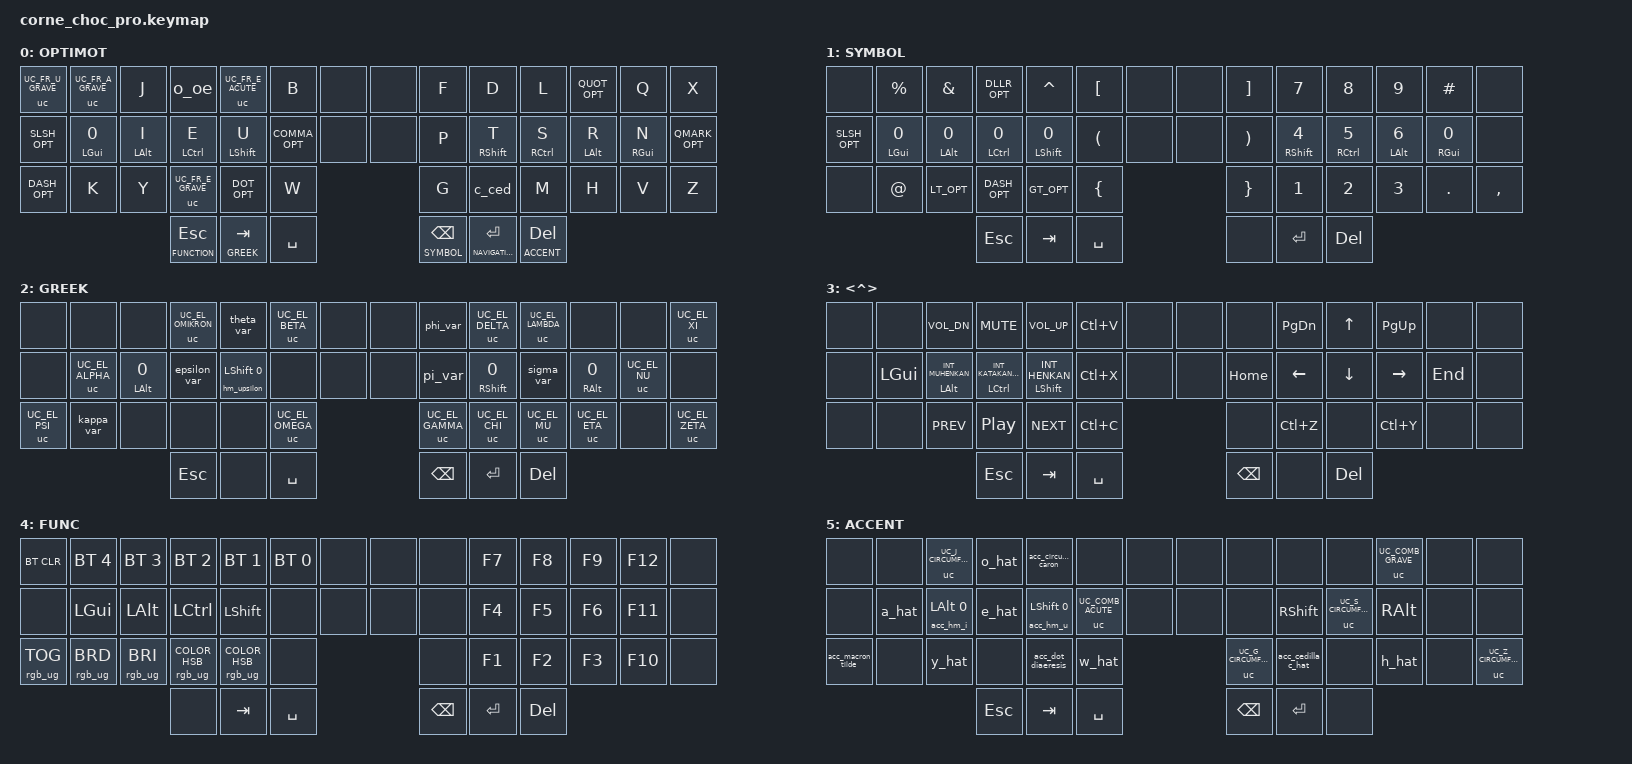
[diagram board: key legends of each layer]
/*
 * Copyright (c) 2020 The ZMK Contributors
 *
 * SPDX-License-Identifier: MIT
 */



#include <behaviors.dtsi>
#include <dt-bindings/zmk/keys.h>
#include <dt-bindings/zmk/bt.h>
#include <dt-bindings/zmk/rgb.h>
#include <behaviors/unicode.dtsi>
#include <zmk-unicode/keys-extra.h>  // All glyphs except CJK
#include <zmk-helpers/helper.h>

// Layer indices, referenced by name from &lt/&mo/&to bindings below instead of
// as raw numbers, so inserting/reordering a layer doesn't silently renumber
// every reference to the layers that follow it.
#define DEFAULT    0
#define SYMBOL     1
#define GREEK      2
#define NAVIGATION 3
#define FUNCTION   4
#define ACCENT     5

/ {
    chosen { zmk,physical-layout = &default_layout; };
};

&uc {
  default-mode = <UC_MODE_LINUX>;  // Default to Linux input system
};

// &uc for use inside mod-morphs. A mod-morph clears ZMK's modifier mask when it is
// released, and &uc starts its input sequence (with all mods masked) immediately on
// press. When the mod-morph is tapped through a home-row-mod hold-tap, its release
// comes right after the press, unmasking held mods (e.g. Shift) in the middle of the
// sequence, so uppercase output hangs. Starting the sequence 1 ms later, after that
// release, avoids it. Use &uc_mm instead of &uc in every mod-morph binding.
ZMK_BEHAVIOR(uc_mm, macro_two_param,
    wait-ms = <0>;
    tap-ms = <1>;
    bindings = <&macro_tap &none>, <&macro_param_1to1>, <&macro_param_2to2>,
               <&macro_tap &uc MACRO_PLACEHOLDER MACRO_PLACEHOLDER>;
)

// "Masked" modifier for the Gui/Alt home-row mods: holds the mod, then taps an
// otherwise idle key (MASK_KEY) just before releasing it, so the OS never sees the mod
// pressed and released alone, which on its own opens the launcher/overview
// (Super) or the menu bar (Alt). They then only ever act in combination with
// another key; a bare Alt/Super comes from the both-Alts/both-Guis combos below
// (or the function/navigation layers).
// The tap is on release, not press, on purpose: queued behaviors are stamped
// with the current time, and hold-taps treat any non-modifier key press newer
// than their own press as "pressed after a recent tap" (require-prior-idle-ms
// defaults to -1), so a mask tap on press turned hold-taps pressed before the
// mod's hold was decided (Enter's navigation layer, T/S/R/N) into instant taps.
// wait-ms/tap-ms = 0 keeps the whole macro synchronous, so the mod is down before
// the key that triggered the hold is replayed.
// The mask is a modifier (Right Ctrl, as QMK's mod neutralizer) rather than a
// spare F-key: F13-F24 have no keysym (or a live one, like F23/F13) in the
// default XKB layout, and apps dropping a keysym-less key never see it, so
// Firefox still opened its menu bar on an Alt+F24 release. Every app sees Ctrl,
// and a Ctrl tap under Alt/Gui does nothing.
#define MASK_KEY RCTRL

// Home-row mods pressed less than this many ms after another key resolve as a tap
// straight away, with no hold decision: no accidental mods while typing fast. A
// shortcut started mid-word needs a short pause first.
// Not the Shift ones (hmls/hmrs, hm_star, hm_upsilon/hm_tau, acc_hm_u): a capital is
// typed mid-flow, right after Space or Backspace (a layer-tap, whose tap is only sent
// on release, so even later), and the pause turned Shift+letter into "u" + letter.
// Balanced flavor + opposite-hand hold-trigger-key-positions guard them instead.
#define HRM_PRIOR_IDLE 150
ZMK_BEHAVIOR(mmod, macro_one_param,
    wait-ms = <0>;
    tap-ms = <0>;
    bindings = <&macro_param_1to1>, <&macro_press &kp MACRO_PLACEHOLDER>,
               <&macro_pause_for_release>,
               <&macro_tap &kp MASK_KEY>,
               <&macro_param_1to1>, <&macro_release &kp MACRO_PLACEHOLDER>;
)


// tap: comma | shift + tap: semicolon 
ZMK_BEHAVIOR(COMMA_OPT, mod_morph,
    bindings = <&kp COMMA>, <&kp SEMICOLON>;
    mods = <(MOD_LSFT|MOD_RSFT)>;
)

// tap: dot | shift + tap: colon 
ZMK_BEHAVIOR(DOT_OPT, mod_morph,
    bindings = <&kp DOT>, <&kp COLON>;
    mods = <(MOD_LSFT|MOD_RSFT)>;
)

// ?!
// tap: question mark | shift + tap exclamation mark
ZMK_BEHAVIOR(QMARK_OPT, mod_morph,
    bindings = <&kp QMARK>, <&kp EXCL>;
    mods = <(MOD_LSFT|MOD_RSFT)>;
)


// '`"
// tap: ' alt + tap: " (base for nesting)
ZMK_BEHAVIOR(SINGLEDOUBLE, mod_morph,
    bindings = <&kp SQT>, <&kp DQT>;
    mods = <(MOD_LALT|MOD_RALT)>;
)
// tap: ' (or " on alt) | shift + tap: `
ZMK_BEHAVIOR(QUOT_OPT, mod_morph,
    bindings = <&SINGLEDOUBLE>, <&kp GRAVE>;
    mods = <(MOD_LSFT|MOD_RSFT)>;
)


// /\|
// tap: slash alt + tap: pipe (base for nesting)
ZMK_BEHAVIOR(SLASHPIPE, mod_morph,
    bindings = <&kp SLASH>, <&kp PIPE>;
    mods = <(MOD_LALT|MOD_RALT)>;
)
// tap: slash (or pipe on alt) | shift + tap: backslash
ZMK_BEHAVIOR(SLSH_OPT, mod_morph,
    bindings = <&SLASHPIPE>, <&kp BACKSLASH>;
    mods = <(MOD_LSFT|MOD_RSFT)>;
)


// -_~
// tap: - alt + tap: ~ (base for nesting)
ZMK_BEHAVIOR(DASHTILDE, mod_morph,
    bindings = <&kp MINUS>, <&kp TILDE>;
    mods = <(MOD_LALT|MOD_RALT)>;
)
// tap: - (or ~ on alt) | shift + tap: _
ZMK_BEHAVIOR(DASH_OPT, mod_morph,
    bindings = <&DASHTILDE>, <&kp UNDERSCORE>;
    mods = <(MOD_LSFT|MOD_RSFT)>;
)


// <⟨«
// tap: < alt + tap: ⟨ (base for nesting)
ZMK_BEHAVIOR(LTANGLE, mod_morph,
    bindings = <&kp LT>, <&uc_mm UC_MATHEMATICAL_LEFT_ANGLE_BRACKET>;
    mods = <(MOD_LALT|MOD_RALT)>;
)
// tap: < (or ⟨ on alt) | shift + tap: «
ZMK_BEHAVIOR(LT_OPT, mod_morph,
    bindings = <&LTANGLE>, <&uc_mm UC_LEFT_POINTING_DOUBLE_ANGLE_QUOTATION_MARK>;
    mods = <(MOD_LSFT|MOD_RSFT)>;
)

// >⟩»
// tap: > alt + tap: ⟩ (base for nesting)
ZMK_BEHAVIOR(GTANGLE, mod_morph,
    bindings = <&kp GT>, <&uc_mm UC_MATHEMATICAL_RIGHT_ANGLE_BRACKET>;
    mods = <(MOD_LALT|MOD_RALT)>;
)
// tap: > (or ⟩ on alt) | shift + tap: »
ZMK_BEHAVIOR(GT_OPT, mod_morph,
    bindings = <&GTANGLE>, <&uc_mm UC_RIGHT_POINTING_DOUBLE_ANGLE_QUOTATION_MARK>;
    mods = <(MOD_LSFT|MOD_RSFT)>;
)

// *×†
// tap: * alt + tap: × (base for nesting)
ZMK_BEHAVIOR(STARTIMES, mod_morph,
    bindings = <&kp STAR>, <&uc_mm UC_MULTIPLICATION_SIGN>;
    mods = <(MOD_LALT|MOD_RALT)>;
)
// tap: * (or × on alt) | shift + tap: † (dagger)
ZMK_BEHAVIOR(STAR_OPT, mod_morph,
    bindings = <&STARTIMES>, <&uc_mm UC_DAGGER>;
    mods = <(MOD_LSFT|MOD_RSFT)>;
)

// $€
// tap: $ | alt + tap: €
ZMK_BEHAVIOR(DLLR_OPT, mod_morph,
    bindings = <&kp DLLR>, <&uc_mm UC_EURO_SIGN>;
    mods = <(MOD_LALT|MOD_RALT)>;
)

// 0°
// tap: 0 | alt + tap: ° (tapped through the hm_zero home-row mod)
ZMK_BEHAVIOR(zero_deg, mod_morph,
    bindings = <&kp N0>, <&uc_mm UC_DEGREE_SIGN>;
    mods = <(MOD_LALT|MOD_RALT)>;
)

// +±
// tap: + | shift + tap: ±
ZMK_BEHAVIOR(PLUS_OPT, mod_morph,
    bindings = <&kp PLUS>, <&uc_mm UC_PLUS_MINUS_SIGN>;
    mods = <(MOD_LSFT|MOD_RSFT)>;
)

// =≠≈
// tap: = alt + tap: ≈ (base for nesting)
ZMK_BEHAVIOR(EQUALAPPROX, mod_morph,
    bindings = <&kp EQUAL>, <&uc_mm UC_ALMOST_EQUAL_TO>;
    mods = <(MOD_LALT|MOD_RALT)>;
)
// tap: = (or ≈ on alt) | shift + tap: ≠
ZMK_BEHAVIOR(EQUAL_OPT, mod_morph,
    bindings = <&EQUALAPPROX>, <&uc_mm UC_NOT_EQUAL_TO>;
    mods = <(MOD_LSFT|MOD_RSFT)>;
)

// Combining diacritical marks (U+0300 block) for the ACCENT layer. Not in
// zmk-unicode's generated headers (it only ships precomposed characters), so
// defined here directly the same way the Greek macros are: raw codepoints,
// same value in both slots since these have no separate shifted form. Typed
// *after* a base letter, they compose visually onto whatever precedes them,
// so they work on any letter instead of only the ones with a precomposed
// Unicode codepoint.
#define UC_COMB_CIRCUMFLEX 0x0302 0x0302 // ◌̂
#define UC_COMB_DIAERESIS  0x0308 0x0308 // ◌̈
#define UC_COMB_GRAVE      0x0300 0x0300 // ◌̀
#define UC_COMB_ACUTE      0x0301 0x0301 // ◌́
#define UC_COMB_TILDE      0x0303 0x0303 // ◌̃
#define UC_COMB_MACRON     0x0304 0x0304 // ◌̄
#define UC_COMB_CEDILLA    0x0327 0x0327 // ◌̧
#define UC_COMB_CARON      0x030C 0x030C // ◌̌
#define UC_COMB_DOT_ABOVE  0x0307 0x0307 // ◌̇

// Precomposed circumflex letters beyond the French vowels (already covered by
// zmk-unicode's UC_FR_{A,E,I,O,U}_CIRCUMFLEX): Esperanto's circumflexed
// consonants (ĉ ĝ ĥ ĵ ŝ) plus Welsh/transliteration ones (ŵ ŷ ẑ). Verified
// against Python's unicodedata — of the 26 Latin letters, only these 8 plus
// AEIOU (13 total) have a precomposed circumflex codepoint at all; the other
// 13 have none, which is the whole reason the ACCENT layer's combining-mark
// keys exist.
#define UC_C_CIRCUMFLEX 0x0109 0x0108 // ĉ/Ĉ
#define UC_G_CIRCUMFLEX 0x011D 0x011C // ĝ/Ĝ
#define UC_H_CIRCUMFLEX 0x0125 0x0124 // ĥ/Ĥ
#define UC_J_CIRCUMFLEX 0x0135 0x0134 // ĵ/Ĵ
#define UC_S_CIRCUMFLEX 0x015D 0x015C // ŝ/Ŝ
#define UC_W_CIRCUMFLEX 0x0175 0x0174 // ŵ/Ŵ
#define UC_Y_CIRCUMFLEX 0x0177 0x0176 // ŷ/Ŷ
#define UC_Z_CIRCUMFLEX 0x1E91 0x1E90 // ẑ/Ẑ

// Precomposed diaeresis letters not covered by zmk-unicode's french.h (which
// only defines the ones French actually uses: E/I/U/Y). A and O have no
// French use either but do have Unicode codepoints (ä, ö); H and W are
// transliteration letters. Of the 12 ACCENT-layer circumflex letters, only
// these 4 plus E/I/U/Y (already in french.h) have a diaeresis counterpart --
// G/J/S/Z don't have one in Unicode at all, same story as the circumflex
// gaps above.
#define UC_A_DIAERESIS 0x00E4 0x00C4 // ä/Ä
#define UC_H_DIAERESIS 0x1E27 0x1E26 // ḧ/Ḧ
#define UC_O_DIAERESIS 0x00F6 0x00D6 // ö/Ö
#define UC_W_DIAERESIS 0x1E85 0x1E84 // ẅ/Ẅ

/ {
    behaviors {
        hml: home_row_mod_left {
            compatible = "zmk,behavior-hold-tap";
            #binding-cells = <2>;
            flavor = "balanced";
            tapping-term-ms = <140>;
            quick-tap-ms = <100>;
            bindings = <&kp>, <&kp>;
            hold-trigger-key-positions = <8 9 10 11 12 13 22 23 24 25 26 27 34 35 36 37 38 39 43 44 45>; // List of keys on the right side of the keyboard
            hold-trigger-on-release;
            require-prior-idle-ms = <HRM_PRIOR_IDLE>;
        };
        hmr: home_row_mod_right {
            compatible = "zmk,behavior-hold-tap";
            #binding-cells = <2>;
            flavor = "balanced";
            tapping-term-ms = <140>;
            quick-tap-ms = <100>;
            bindings = <&kp>, <&kp>;
            hold-trigger-key-positions = <0 1 2 3 4 5 14 15 16 17 18 19 28 29 30 31 32 33 40 41 42>; // List of keys on the left side of the keyboard
            hold-trigger-on-release;
            require-prior-idle-ms = <HRM_PRIOR_IDLE>;
        };
        c_ced: c_ced {
            compatible = "zmk,behavior-mod-morph";
            #binding-cells = <0>;
            bindings = <&kp C>, <&uc_mm UC_FR_C_CEDILLA>;
            mods = <(MOD_LALT|MOD_RALT)>;
        };
        // a / alt→æ (tapped through the hm_a home-row mod) and o / alt→œ
        a_ae: a_ae {
            compatible = "zmk,behavior-mod-morph";
            #binding-cells = <0>;
            bindings = <&kp A>, <&uc_mm UC_FR_AE>;
            mods = <(MOD_LALT|MOD_RALT)>;
        };
        o_oe: o_oe {
            compatible = "zmk,behavior-mod-morph";
            #binding-cells = <0>;
            bindings = <&kp O>, <&uc_mm UC_FR_OE>;
            mods = <(MOD_LALT|MOD_RALT)>;
        };
        e_hat: e_hat {
            compatible = "zmk,behavior-mod-morph";
            #binding-cells = <0>;
            bindings = <&uc_mm UC_FR_E_CIRCUMFLEX>, <&uc_mm UC_FR_E_DIAERESIS>;
            mods = <(MOD_LALT|MOD_RALT)>;
        };
        i_hat: i_hat {
            compatible = "zmk,behavior-mod-morph";
            #binding-cells = <0>;
            bindings = <&uc_mm UC_FR_I_CIRCUMFLEX>, <&uc_mm UC_FR_I_DIAERESIS>;
            mods = <(MOD_LALT|MOD_RALT)>;
        };
        u_hat: u_hat {
            compatible = "zmk,behavior-mod-morph";
            #binding-cells = <0>;
            bindings = <&uc_mm UC_FR_U_CIRCUMFLEX>, <&uc_mm UC_FR_U_DIAERESIS>;
            mods = <(MOD_LALT|MOD_RALT)>;
        };
        a_hat: a_hat {
            compatible = "zmk,behavior-mod-morph";
            #binding-cells = <0>;
            bindings = <&uc_mm UC_FR_A_CIRCUMFLEX>, <&uc_mm UC_A_DIAERESIS>;
            mods = <(MOD_LALT|MOD_RALT)>;
        };
        o_hat: o_hat {
            compatible = "zmk,behavior-mod-morph";
            #binding-cells = <0>;
            bindings = <&uc_mm UC_FR_O_CIRCUMFLEX>, <&uc_mm UC_O_DIAERESIS>;
            mods = <(MOD_LALT|MOD_RALT)>;
        };
        h_hat: h_hat {
            compatible = "zmk,behavior-mod-morph";
            #binding-cells = <0>;
            bindings = <&uc_mm UC_H_CIRCUMFLEX>, <&uc_mm UC_H_DIAERESIS>;
            mods = <(MOD_LALT|MOD_RALT)>;
        };
        w_hat: w_hat {
            compatible = "zmk,behavior-mod-morph";
            #binding-cells = <0>;
            bindings = <&uc_mm UC_W_CIRCUMFLEX>, <&uc_mm UC_W_DIAERESIS>;
            mods = <(MOD_LALT|MOD_RALT)>;
        };
        y_hat: y_hat {
            compatible = "zmk,behavior-mod-morph";
            #binding-cells = <0>;
            bindings = <&uc_mm UC_Y_CIRCUMFLEX>, <&uc_mm UC_FR_Y_DIAERESIS>;
            mods = <(MOD_LALT|MOD_RALT)>;
        };
        theta_var: theta_var {
            compatible = "zmk,behavior-mod-morph";
            #binding-cells = <0>;
            bindings = <&uc_mm UC_EL_THETA>, <&uc_mm UC_EL_THETA_SYM>;
            mods = <(MOD_LALT|MOD_RALT)>;
        };
        phi_var: phi_var {
            compatible = "zmk,behavior-mod-morph";
            #binding-cells = <0>;
            bindings = <&uc_mm UC_EL_PHI>, <&uc_mm UC_EL_PHI_SYM>;
            mods = <(MOD_LALT|MOD_RALT)>;
        };
        epsilon_var: epsilon_var {
            compatible = "zmk,behavior-mod-morph";
            #binding-cells = <0>;
            bindings = <&uc_mm UC_EL_EPSILON>, <&uc_mm UC_EL_EPSILON_SYM>;
            mods = <(MOD_LALT|MOD_RALT)>;
        };
        kappa_var: kappa_var {
            compatible = "zmk,behavior-mod-morph";
            #binding-cells = <0>;
            bindings = <&uc_mm UC_EL_KAPPA>, <&uc_mm UC_EL_KAPPA_SYM>;
            mods = <(MOD_LALT|MOD_RALT)>;
        };
        pi_var: pi_var {
            compatible = "zmk,behavior-mod-morph";
            #binding-cells = <0>;
            bindings = <&uc_mm UC_EL_PI>, <&uc_mm UC_EL_PI_SYM>;
            mods = <(MOD_LALT|MOD_RALT)>;
        };
        rho_var: rho_var {
            compatible = "zmk,behavior-mod-morph";
            #binding-cells = <0>;
            bindings = <&uc_mm UC_EL_RHO>, <&uc_mm UC_EL_RHO_SYM>;
            mods = <(MOD_LALT|MOD_RALT)>;
        };
        sigma_var: sigma_var {
            compatible = "zmk,behavior-mod-morph";
            #binding-cells = <0>;
            bindings = <&uc_mm UC_EL_SIGMA>, <&uc_mm UC_EL_FINAL_SIGMA>;
            mods = <(MOD_LALT|MOD_RALT)>;
        };
        acc_circumflex_caron: acc_circumflex_caron {
            compatible = "zmk,behavior-mod-morph";
            #binding-cells = <0>;
            bindings = <&uc_mm UC_COMB_CIRCUMFLEX>, <&uc_mm UC_COMB_CARON>;
            mods = <(MOD_LSFT|MOD_RSFT)>;
        };
        acc_macron_tilde: acc_macron_tilde {
            compatible = "zmk,behavior-mod-morph";
            #binding-cells = <0>;
            bindings = <&uc_mm UC_COMB_MACRON>, <&uc_mm UC_COMB_TILDE>;
            mods = <(MOD_LSFT|MOD_RSFT)>;
        };
        // C position on the ACCENT layer: tap keeps the combining cedilla that
        // lived there, alt gives the precomposed ĉ.
        acc_cedilla_c_hat: acc_cedilla_c_hat {
            compatible = "zmk,behavior-mod-morph";
            #binding-cells = <0>;
            bindings = <&uc_mm UC_COMB_CEDILLA>, <&uc_mm UC_C_CIRCUMFLEX>;
            mods = <(MOD_LALT|MOD_RALT)>;
        };
        acc_dot_diaeresis: acc_dot_diaeresis {
            compatible = "zmk,behavior-mod-morph";
            #binding-cells = <0>;
            bindings = <&uc_mm UC_COMB_DOT_ABOVE>, <&uc_mm UC_COMB_DIAERESIS>;
            mods = <(MOD_LSFT|MOD_RSFT)>;
        };
    };
};
ZMK_BEHAVIOR(uc_upsilon, macro,
    bindings = <&uc UC_EL_UPSILON>;
)

ZMK_BEHAVIOR(uc_tau, macro,
    bindings = <&uc UC_EL_TAU>;
)

ZMK_BEHAVIOR(uc_iota, macro,
    bindings = <&uc UC_EL_IOTA>;
)

ZMK_BEHAVIOR(hm_upsilon, hold_tap,
    flavor = "balanced";
    tapping-term-ms = <140>;
    quick-tap-ms = <100>;
    bindings = <&kp>, <&uc_upsilon>;
    hold-trigger-key-positions = <8 9 10 11 12 13 22 23 24 25 26 27 34 35 36 37 38 39 43 44 45>;
    hold-trigger-on-release;
)

ZMK_BEHAVIOR(hm_tau, hold_tap,
    flavor = "balanced";
    tapping-term-ms = <140>;
    quick-tap-ms = <100>;
    bindings = <&kp>, <&uc_tau>;
    hold-trigger-key-positions = <0 1 2 3 4 5 14 15 16 17 18 19 28 29 30 31 32 33 40 41 42>;
    hold-trigger-on-release;
)

// Alt home-row mods for the greek layer, mirroring hml/hmr's I/R placement on the
// default layer, so the *_var alt-tap variants (theta_var, phi_var, ...) are reachable.
ZMK_BEHAVIOR(hm_iota, hold_tap,
    flavor = "balanced";
    tapping-term-ms = <140>;
    quick-tap-ms = <100>;
    bindings = <&mmod>, <&uc_iota>;
    hold-trigger-key-positions = <8 9 10 11 12 13 22 23 24 25 26 27 34 35 36 37 38 39 43 44 45>;
    hold-trigger-on-release;
    require-prior-idle-ms = <HRM_PRIOR_IDLE>;
)

ZMK_BEHAVIOR(hm_rho, hold_tap,
    flavor = "balanced";
    tapping-term-ms = <140>;
    quick-tap-ms = <100>;
    bindings = <&mmod>, <&rho_var>;
    hold-trigger-key-positions = <0 1 2 3 4 5 14 15 16 17 18 19 28 29 30 31 32 33 40 41 42>;
    hold-trigger-on-release;
    require-prior-idle-ms = <HRM_PRIOR_IDLE>;
)

// Shift/Alt home-row mods for the ACCENT layer, same U/T (shift) and I/R (alt)
// physical positions as the default and Greek layers, so Shift is reachable to
// get the caron/tilde/diaeresis shift-variants and uppercase letter forms, and
// Alt (redundantly, but consistently) to chord from either hand. U and I keep
// their existing u_hat/i_hat tap behavior; T and R had nothing bound there, so
// they're plain modifier keys, no hold-tap needed.
ZMK_BEHAVIOR(acc_hm_u, hold_tap,
    flavor = "balanced";
    tapping-term-ms = <140>;
    quick-tap-ms = <100>;
    bindings = <&kp>, <&u_hat>;
    hold-trigger-key-positions = <8 9 10 11 12 13 22 23 24 25 26 27 34 35 36 37 38 39 43 44 45>;
    hold-trigger-on-release;
)

ZMK_BEHAVIOR(acc_hm_i, hold_tap,
    flavor = "balanced";
    tapping-term-ms = <140>;
    quick-tap-ms = <100>;
    bindings = <&mmod>, <&i_hat>;
    hold-trigger-key-positions = <8 9 10 11 12 13 22 23 24 25 26 27 34 35 36 37 38 39 43 44 45>;
    hold-trigger-on-release;
    require-prior-idle-ms = <HRM_PRIOR_IDLE>;
)

// Gui home-row mod for A on the default layer, same as hmlm but tapping through
// a_ae, so alt + A gives æ. A is a left-hand key, so the alt comes from the right
// hand (R), like for ç and œ.
ZMK_BEHAVIOR(hm_a, hold_tap,
    flavor = "balanced";
    tapping-term-ms = <140>;
    quick-tap-ms = <100>;
    bindings = <&mmod>, <&a_ae>;
    hold-trigger-key-positions = <8 9 10 11 12 13 22 23 24 25 26 27 34 35 36 37 38 39 43 44 45>;
    hold-trigger-on-release;
    require-prior-idle-ms = <HRM_PRIOR_IDLE>;
)

ZMK_BEHAVIOR(uc_sqrt, macro,
    bindings = <&uc UC_SQUARE_ROOT>;
)

// Left-hand home-row mods for the symbol layer (√ + = * hold Gui/Alt/Ctrl/Shift,
// like A/I/E/U on the default layer), tapping through the symbol keys' own
// behaviors; Gui/Alt are masked like hmlm.
ZMK_BEHAVIOR(hm_sqrt, hold_tap,
    flavor = "balanced";
    tapping-term-ms = <140>;
    quick-tap-ms = <100>;
    bindings = <&mmod>, <&uc_sqrt>;
    hold-trigger-key-positions = <8 9 10 11 12 13 22 23 24 25 26 27 34 35 36 37 38 39 43 44 45>;
    hold-trigger-on-release;
    require-prior-idle-ms = <HRM_PRIOR_IDLE>;
)

ZMK_BEHAVIOR(hm_plus, hold_tap,
    flavor = "balanced";
    tapping-term-ms = <140>;
    quick-tap-ms = <100>;
    bindings = <&mmod>, <&PLUS_OPT>;
    hold-trigger-key-positions = <8 9 10 11 12 13 22 23 24 25 26 27 34 35 36 37 38 39 43 44 45>;
    hold-trigger-on-release;
    require-prior-idle-ms = <HRM_PRIOR_IDLE>;
)

ZMK_BEHAVIOR(hm_equal, hold_tap,
    flavor = "balanced";
    tapping-term-ms = <140>;
    quick-tap-ms = <100>;
    bindings = <&kp>, <&EQUAL_OPT>;
    hold-trigger-key-positions = <8 9 10 11 12 13 22 23 24 25 26 27 34 35 36 37 38 39 43 44 45>;
    hold-trigger-on-release;
    require-prior-idle-ms = <HRM_PRIOR_IDLE>;
)

ZMK_BEHAVIOR(hm_star, hold_tap,
    flavor = "balanced";
    tapping-term-ms = <140>;
    quick-tap-ms = <100>;
    bindings = <&kp>, <&STAR_OPT>;
    hold-trigger-key-positions = <8 9 10 11 12 13 22 23 24 25 26 27 34 35 36 37 38 39 43 44 45>;
    hold-trigger-on-release;
)

// Gui home-row mod for 0 on the symbol layer, same as hmrm but tapping through
// zero_deg, so alt + 0 gives ° (Alt held on the + key).
ZMK_BEHAVIOR(hm_zero, hold_tap,
    flavor = "balanced";
    tapping-term-ms = <140>;
    quick-tap-ms = <100>;
    bindings = <&mmod>, <&zero_deg>;
    hold-trigger-key-positions = <0 1 2 3 4 5 14 15 16 17 18 19 28 29 30 31 32 33 40 41 42>;
    hold-trigger-on-release;
    require-prior-idle-ms = <HRM_PRIOR_IDLE>;
)

// Gui/Alt home-row mods (hml/hmr with a masked hold, see mmod), so they only act
// combined with another key. Held alone past the tapping term and released,
// they do nothing, like the Shift/Ctrl ones (no retro-tap).
ZMK_BEHAVIOR(hmlm, hold_tap,
    flavor = "balanced";
    tapping-term-ms = <140>;
    quick-tap-ms = <100>;
    bindings = <&mmod>, <&kp>;
    hold-trigger-key-positions = <8 9 10 11 12 13 22 23 24 25 26 27 34 35 36 37 38 39 43 44 45>;
    hold-trigger-on-release;
    require-prior-idle-ms = <HRM_PRIOR_IDLE>;
)

ZMK_BEHAVIOR(hmrm, hold_tap,
    flavor = "balanced";
    tapping-term-ms = <140>;
    quick-tap-ms = <100>;
    bindings = <&mmod>, <&kp>;
    hold-trigger-key-positions = <0 1 2 3 4 5 14 15 16 17 18 19 28 29 30 31 32 33 40 41 42>;
    hold-trigger-on-release;
    require-prior-idle-ms = <HRM_PRIOR_IDLE>;
)

// Shift home-row mods: hml/hmr without require-prior-idle-ms (see HRM_PRIOR_IDLE).
ZMK_BEHAVIOR(hmls, hold_tap,
    flavor = "balanced";
    tapping-term-ms = <140>;
    quick-tap-ms = <100>;
    bindings = <&kp>, <&kp>;
    hold-trigger-key-positions = <8 9 10 11 12 13 22 23 24 25 26 27 34 35 36 37 38 39 43 44 45>;
    hold-trigger-on-release;
)

ZMK_BEHAVIOR(hmrs, hold_tap,
    flavor = "balanced";
    tapping-term-ms = <140>;
    quick-tap-ms = <100>;
    bindings = <&kp>, <&kp>;
    hold-trigger-key-positions = <0 1 2 3 4 5 14 15 16 17 18 19 28 29 30 31 32 33 40 41 42>;
    hold-trigger-on-release;
)

// Hold both home-row shift mods (U left / T right) together to toggle caps word.
// Short timeout + a prior-idle requirement keep it from misfiring during normal typing.
/ {
    combos {
        compatible = "zmk,combos";
        combo_caps_word {
            timeout-ms = <50>;
            require-prior-idle-ms = <150>;
            key-positions = <18 23>;
            bindings = <&caps_word>;
            layers = <DEFAULT>;
        };
        // Both home-row Alts (I left / R right) together: a bare Alt, since the
        // home-row Alts themselves are masked (see mmod).
        combo_alt {
            timeout-ms = <50>;
            require-prior-idle-ms = <150>;
            key-positions = <16 25>;
            bindings = <&kp LALT>;
            layers = <DEFAULT>;
        };
        // Same for both home-row Guis (A left / N right): a bare Super.
        combo_gui {
            timeout-ms = <50>;
            require-prior-idle-ms = <150>;
            key-positions = <15 26>;
            bindings = <&kp LGUI>;
            layers = <DEFAULT>;
        };
    };
};


/ {

    keymap {
        compatible = "zmk,keymap";

        default_layer {
            display-name = "OPTIMOT";

            // --------------------------------------------------------------------------------
            // |  ù   |  à  |  J  | Oœ  |  é  |  B  |  none |  none |  F  |  D  |  L   | '`" |  Q  |  X  |
            // | /\|  | Aæ  |  I  |  E  |  U  |  ,; |  none |  none |  P  |  T  |  S   |  R  |  N  |  ?! |
            // | -_~  |  K  |  Y  |  è  |  .: |  W  |               |  G  |  C  |  M   |  H  |  V  |  Z  |
            //                    | ESC | TAB |SPACE|               |BACKS|ENTER|→ACCENT|

            bindings = <
            &uc UC_FR_U_GRAVE &uc UC_FR_A_GRAVE &kp J       &o_oe             &uc UC_FR_E_ACUTE &kp B      &none &none &kp F           &kp D              &kp L          &QUOT_OPT   &kp Q            &kp X
            &SLSH_OPT         &hm_a LGUI 0      &hmlm LALT I &hml LCTRL E      &hmls LSHFT U      &COMMA_OPT &none &none &kp P           &hmrs RSHFT T       &hmr RCTRL S   &hmrm LALT R &hmrm RGUI N       &QMARK_OPT
            &DASH_OPT         &kp K             &kp Y       &uc UC_FR_E_GRAVE &DOT_OPT          &kp W                  &kp G           &c_ced             &kp M          &kp H       &kp V            &kp Z
                                                            &lt FUNCTION ESC  &lt GREEK TAB     &kp SPACE              &lt SYMBOL BSPC &lt NAVIGATION RET &lt ACCENT DEL
            >;
        };

        symbol_layer {
            display-name = "SYMBOL";

            // --------------------------------------------------------------------------------
            // |  n  |  %  |  &  |  $€   |  ^   |  [   |  none |  none |  ]  |  7  |  8  |  9  |  #  |  n  |
            // | /\| |  √  | +±  | =≠≈   | *×†  |  (   |  none |  none |  )  |  4  |  5  |  6  | 0°  |  n  |
            // |  n  |  @  | <⟨« | -_~   | >⟩»  |  {   |               |  }  |  1  |  2  |  3  |  .  |  ,  |
            //                   | ESC   | TAB  |SPACE |               | --- |ENTER| DEL |
            //
            // ^ (exponent/caret) swapped onto the $ key's old spot -- same physical
            // position as the Accent layer's circumflex, on the "e acute" key.

            bindings = <
            &none     &kp PRCNT          &kp AMPS  &DLLR_OPT  &kp CARET &kp LBKT  &none &none &kp RBKT &kp N7        &kp N8        &kp N9       &kp HASH &none
            &SLSH_OPT &hm_sqrt LGUI 0 &hm_plus LALT 0 &hm_equal LCTRL 0 &hm_star LSHFT 0 &kp LPAR  &none &none &kp RPAR &hmrs RSHFT N4 &hmr RCTRL N5 &hmrm LALT N6 &hm_zero RGUI 0 &none
            &none     &kp AT             &LT_OPT   &DASH_OPT  &GT_OPT   &kp LBRC              &kp RBRC &kp N1        &kp N2        &kp N3       &kp DOT  &kp COMMA
                                                   &kp ESC    &kp TAB   &kp SPACE             &none    &kp RET       &kp DEL
            >;
        };

        greek_layer {
            display-name = "GREEK";

            // --------------------------------------------------------------------------------
            // |  n  |  n  |  n  |omikr|theta| beta|  none |  none | phi |delta|lambd|  n |  n  |  xi |
            // |  n  |alpha|iota |epsil|upsil|  n  |  none |  none | pi  | tau |sigma|rho |  nu |  n  |
            // | psi |kappa|  n  |  n  |  n  |omega|               |gamma| chi | mu  |eta |  n  |zeta |
            //                   | ESC | --- |SPACE|               |BSPC |ENTER| DEL |

            bindings = <
            &none         &none           &none           &uc UC_EL_OMIKRON &theta_var          &uc UC_EL_BETA  &none &none &phi_var        &uc UC_EL_DELTA &uc UC_EL_LAMBDA &none          &none        &uc UC_EL_XI
            &none         &uc UC_EL_ALPHA &hm_iota LALT 0 &epsilon_var      &hm_upsilon LSHFT 0 &none           &none &none &pi_var         &hm_tau RSHFT 0 &sigma_var       &hm_rho RALT 0 &uc UC_EL_NU &none
            &uc UC_EL_PSI &kappa_var      &none           &none             &none               &uc UC_EL_OMEGA             &uc UC_EL_GAMMA &uc UC_EL_CHI   &uc UC_EL_MU     &uc UC_EL_ETA  &none        &uc UC_EL_ZETA
                                                          &kp ESC           &none               &kp SPACE                   &kp BSPC        &kp RET         &kp DEL
            >;
        };

        navigation_layer {
            display-name = "<^>";

            // --------------------------------------------------------------------------------
            // |  n  |  n  |snd -|snd x|snd +|paste|  none |  none |  n   |PgDn |  ^  |PgUp |  n  |  n  |
            // |  n  |SUPER|muhen|kana |henkn| cut |  none |  none | home |  <  | dwn |  >  | end |  n  |
            //       |     |⌥ALT |^CTRL|⇧SHFT|   <- hold
            // |  n  |  n  |prev | ||> |next | copy|               |  n   |undo |  n  |redo |  n  |  n  |
            //                    | ESC | TAB |SPCE|               |BSPC | --- | DEL |
            //
            // I/E/U are home-row mods like on the base layer: hold for Alt/Ctrl/Shift,
            // tap for the Japanese IME keys -- Muhenkan (IME off), Katakana/Hiragana,
            // Henkan (IME on). Plain-held mods stay usable with the right-hand arrows
            // since those are in hml's hold-trigger-key-positions.
            //
            // undo/redo/cut/copy/paste are sent as literal keyboard shortcuts
            // (Ctrl+Z/Y/X/C/V) rather than HID consumer "AC_*" codes, since most
            // apps (and Linux especially) only listen for the former. snd-/x/+ and
            // prev/||>/next stay as real consumer media keys, which are universally
            // supported.

            bindings = <
            &none &none    &kp C_VOL_DN &kp C_MUTE &kp C_VOL_UP &kp LC(V) &none &none &none    &kp PG_DN &kp UP   &kp PG_UP &none   &none
            &none &kp LGUI &hmlm LALT INT_MUHENKAN &hml LCTRL INT_KATAKANAHIRAGANA &hmls LSHFT INT_HENKAN &kp LC(X) &none &none &kp HOME &kp LEFT  &kp DOWN &kp RIGHT &kp END &none
            &none &none    &kp C_PREV   &kp C_PP   &kp C_NEXT   &kp LC(C)             &none    &kp LC(Z) &none    &kp LC(Y) &none   &none
                                        &kp ESC    &kp TAB      &kp SPACE             &kp BSPC &none     &kp DEL
            >;
        };

        function_layer {
            display-name = "FUNC";

            // --------------------------------------------------------------------------------
            // |BTCLR|BT  5|BT  4|BT  3|BT  2|BT  1|  none |  none |  n  | F7 | F8 | F9 | F12|  n |
            // |  n  |SUPER| ALT |CTRL |SHIFT|  n  |  none |  none |  n  | F4 | F5 | F6 | F11|  n |
            // | RGB |BRI- |BRI+ |WHITE|PURPL|  n  |               |  n  | F1 | F2 | F3 | F10|  n |
            //                   | --- | TAB |SPACE|               |BSPCE|ENTER| DEL|
            //
            // F1-F9 sit exactly on the symbol layer's 1-9 (index/middle/ring fingers),
            // F10-F12 on the pinky column next to them.
            //
            // RGB toggles the underglow, BRI-/BRI+ step its brightness, WHITE/PURPL set its
            // color at full brightness. All of them save the state, which then overrides
            // the *_START defaults in the defconfigs. Brightness is scaled into
            // [0, CONFIG_ZMK_RGB_UNDERGLOW_BRT_MAX], so "full" is that cap (40%).

            bindings = <
            &bt BT_CLR      &bt BT_SEL 4 &bt BT_SEL 3 &bt BT_SEL 2 &bt BT_SEL 1 &bt BT_SEL 0 &none &none &none    &kp F7  &kp F8 &kp F9 &kp F12 &none
            &none           &kp LGUI     &kp LALT     &kp LCTRL    &kp LSHFT    &none        &none &none &none    &kp F4  &kp F5 &kp F6 &kp F11 &none
            &rgb_ug RGB_TOG &rgb_ug RGB_BRD &rgb_ug RGB_BRI &rgb_ug RGB_COLOR_HSB(0,0,100) &rgb_ug RGB_COLOR_HSB(270,100,100) &none &none    &kp F1  &kp F2 &kp F3 &kp F10 &none
                                                      &none        &kp TAB      &kp SPACE                &kp BSPC &kp RET &kp DEL
            >;
        };

        accent_layer {
            display-name = "ACCENT";

            // Type a base letter normally, then hold Del (right thumb) and tap one of
            // these. Two ways to compose an accent:
            //  - Letter positions (A/C/E/G/H/I/J/O/S/U/W/Y/Z) give the single precomposed
            //    Unicode character directly (â, ĵ, ŷ...) -- these are the only 13 Latin
            //    letters that have one (verified against unicodedata); the other 13 have
            //    no precomposed circumflex form in Unicode, full stop. 12 of them tap
            //    straight to the circumflex; C is the exception, its tap is the combining
            //    cedilla and ĉ is on alt. 8 of the 12 (A/E/H/I/O/U/W/Y) also have a
            //    precomposed diaeresis, so those are alt-tap mod-morphs (tap circumflex,
            //    alt diaeresis) instead of plain keys (E/I/U use e_hat/i_hat/u_hat,
            //    A/O/H/W/Y the matching *_hat behaviors). G/J/S/Z have no diaeresis
            //    codepoint either, so they stay plain circumflex-only.
            //  - The 6 combining-mark keys (U+0300 block: é, ', comma, dash, dot and C
            //    positions) fuse onto whatever letter you just typed, so they work on
            //    literally any letter, including the 13 with no precomposed circumflex,
            //    e.g. n + circumflex(é position) -> n̂. Not in zmk-unicode's generated
            //    headers, so defined by hand as raw codepoints.
            //
            // U/T hold Shift (left/right) and I/R hold Alt (left/right) -- same physical
            // spots as the default and Greek layers -- so Shift is actually reachable here
            // to get the caron/tilde/diaeresis shift-variants above and uppercase letters
            // (the &uc behavior itself picks upper/lowercase off currently-held Shift).
            // U and I keep their tap output (u_hat/i_hat); T and R had nothing bound, so
            // they're plain modifier keys.
            //
            // --------------------------------------------------------------------------------
            // |  n  |  n   |  ĵ  | ô/ö | ^/ˇ  |  n  |  none |  none |  n  |  n  |  n  |  `  |  n  |  n  |
            // |  n  |  â/ä | î/ï⌥| ê/ë |û/ü⇧  |  ´  |  none |  none |  n  |  ⇧  | ŝ   |  ⌥  |  n  |  n  |
            // | ¯/~ |  n   | ŷ/ÿ |  n  | ˙/¨  | ŵ/ẅ |               | ĝ   | ¸/ĉ |  n  | ĥ/ḧ |  n  |  ẑ  |
            //                    | ESC | TAB  |SPACE|               |BSPC |ENTER| --- |

            bindings = <
            &none             &none             &uc UC_J_CIRCUMFLEX &o_hat  &acc_circumflex_caron &none             &none &none &none               &none               &none               &uc UC_COMB_GRAVE &none &none
            &none             &a_hat            &acc_hm_i LALT 0    &e_hat  &acc_hm_u LSHFT 0     &uc UC_COMB_ACUTE &none &none &none               &kp RSHFT           &uc UC_S_CIRCUMFLEX &kp RALT          &none &none
            &acc_macron_tilde &none             &y_hat              &none   &acc_dot_diaeresis    &w_hat                        &uc UC_G_CIRCUMFLEX &acc_cedilla_c_hat   &none               &h_hat            &none &uc UC_Z_CIRCUMFLEX
                                                                    &kp ESC &kp TAB               &kp SPACE                     &kp BSPC            &kp RET             &none
            >;
        };

    };
};
